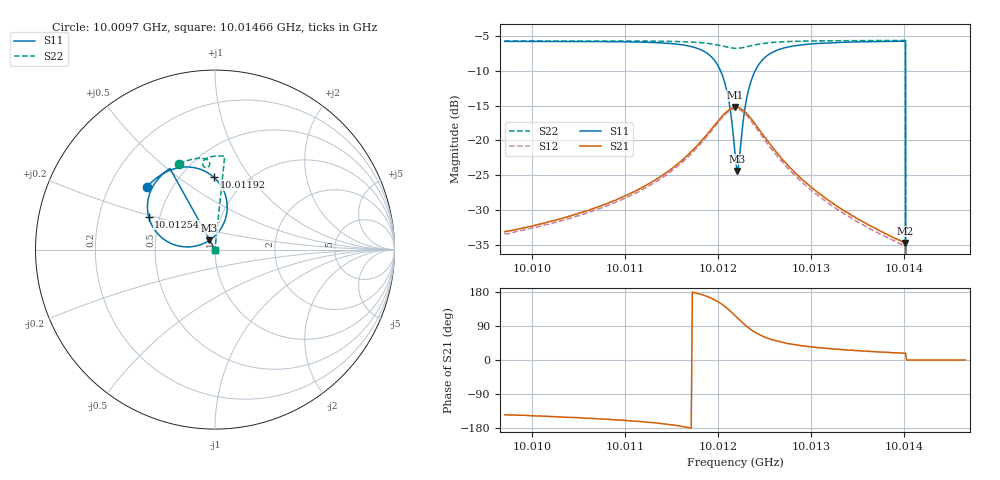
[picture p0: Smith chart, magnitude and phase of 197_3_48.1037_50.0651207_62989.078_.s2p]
#  HZ  S  RI  R  50.00
! Rohde & Schwarz Vector Network Analyzer
! Rohde-Schwarz,ZNB20-2Port,1311601062101988,3.16
! Created: UTC 12/23/2023, 3:54:23 AM
! freq[Hz]  re:S11  im:S11  re:S21  im:S21  re:S12  im:S12  re:S22  im:S22
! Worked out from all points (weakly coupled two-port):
!   401 points, 10.0097 GHz to 10.01466 GHz, reference 50 ohm
!   highest |S21| = -15.25 dB at 10.01218 GHz (marker M1); lowest = -34.8 dB at 10.01402 GHz (marker M2)
!   lowest |S11| = -24.4 dB at 10.01221 GHz (marker M3), VSWR 1.13, Z = 46.7 + j4.84 ohm
!   |S11| at or under -10 dB: 10.01203 GHz to 10.0124 GHz (372.5 kHz wide, 0.00372 % of centre); 10.01402 GHz to end of sweep
!   |S22| runs from - to -5.6 dB; largest |S21 - S12| = 0.0084
!   S11 on the Smith chart (normalised r, x): 10.0097 GHz: 0.36, +0.34; 10.01192 GHz: 0.71, +0.69; 10.01254 GHz: 0.43, +0.19; 10.01466 GHz: 1.00, +0.00
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1.0009701e10  -0.3815 0.3464  -0.0179 -0.0128  -0.0166 -0.0133  -0.1998 0.4782
1.0010532e10  -0.3265 0.3983  -0.0271 -0.0138  -0.0253 -0.0146  -0.1474 0.4976
1.0011363e10  -0.2231 0.4515  -0.0526 -0.0122  -0.05 -0.0143  -0.0879 0.5091
1.0011723e10  -0.1152 0.4564  -0.0844 0.000899  -0.0813 -0.00347  -0.0555 0.5061
1.0011922e10  -0.00611 0.4027  -0.114 0.0334  -0.1126 0.0265  -0.0359 0.4937
1.0012008e10  0.0465 0.3323  -0.1239 0.065  -0.124 0.0573  -0.03 0.4825
1.0012083e10  0.0681 0.2338  -0.1203 0.1034  -0.1223 0.0952  -0.0307 0.47
1.0012132e10  0.0523 0.1546  -0.1051 0.1313  -0.1084 0.1239  -0.0358 0.4622
1.0012182e10  0.00393 0.0806  -0.0791 0.1537  -0.0833 0.1465  -0.0446 0.4574
1.0012207e10  -0.0313 0.0516  -0.0632 0.1604  -0.0672 0.1541  -0.0495 0.457
1.0012232e10  -0.0719 0.0305  -0.0464 0.1642  -0.0501 0.1582  -0.0545 0.4578
1.0012294e10  -0.177 0.0159  -0.00489 0.1595  -0.0101 0.154  -0.0643 0.4649
1.0012343e10  -0.249 0.036  0.0205 0.1454  0.0146 0.1407  -0.0681 0.4728
1.001243e10  -0.3298 0.1013  0.0444 0.1146  0.0387 0.1113  -0.0675 0.4867
1.0012542e10  -0.3698 0.1843  0.0535 0.0811  0.0477 0.0798  -0.0596 0.4997
1.001274e10  -0.3717 0.2834  0.0485 0.0467  0.0442 0.0465  -0.0417 0.5117
1.0013013e10  -0.3446 0.355  0.0375 0.0258  0.0345 0.0262  -0.0184 0.5184
1.0013845e10  -0.2652 0.4419  0.0194 0.00699  0.018 0.00768  0.0424 0.5213
1.0013993e10  -0.2531 0.4504  0.0176 0.00569  0.0164 0.00632  0.0526 0.5206
1.0014018e10  -0.2511 0.4518  0.0174 0.0057  0.0162 0.00612  0.0542 0.5205
1.0014055e10  0 0  0 0  0 0  0 0
1.0014663e10  0 0  0 0  0 0  0 0
